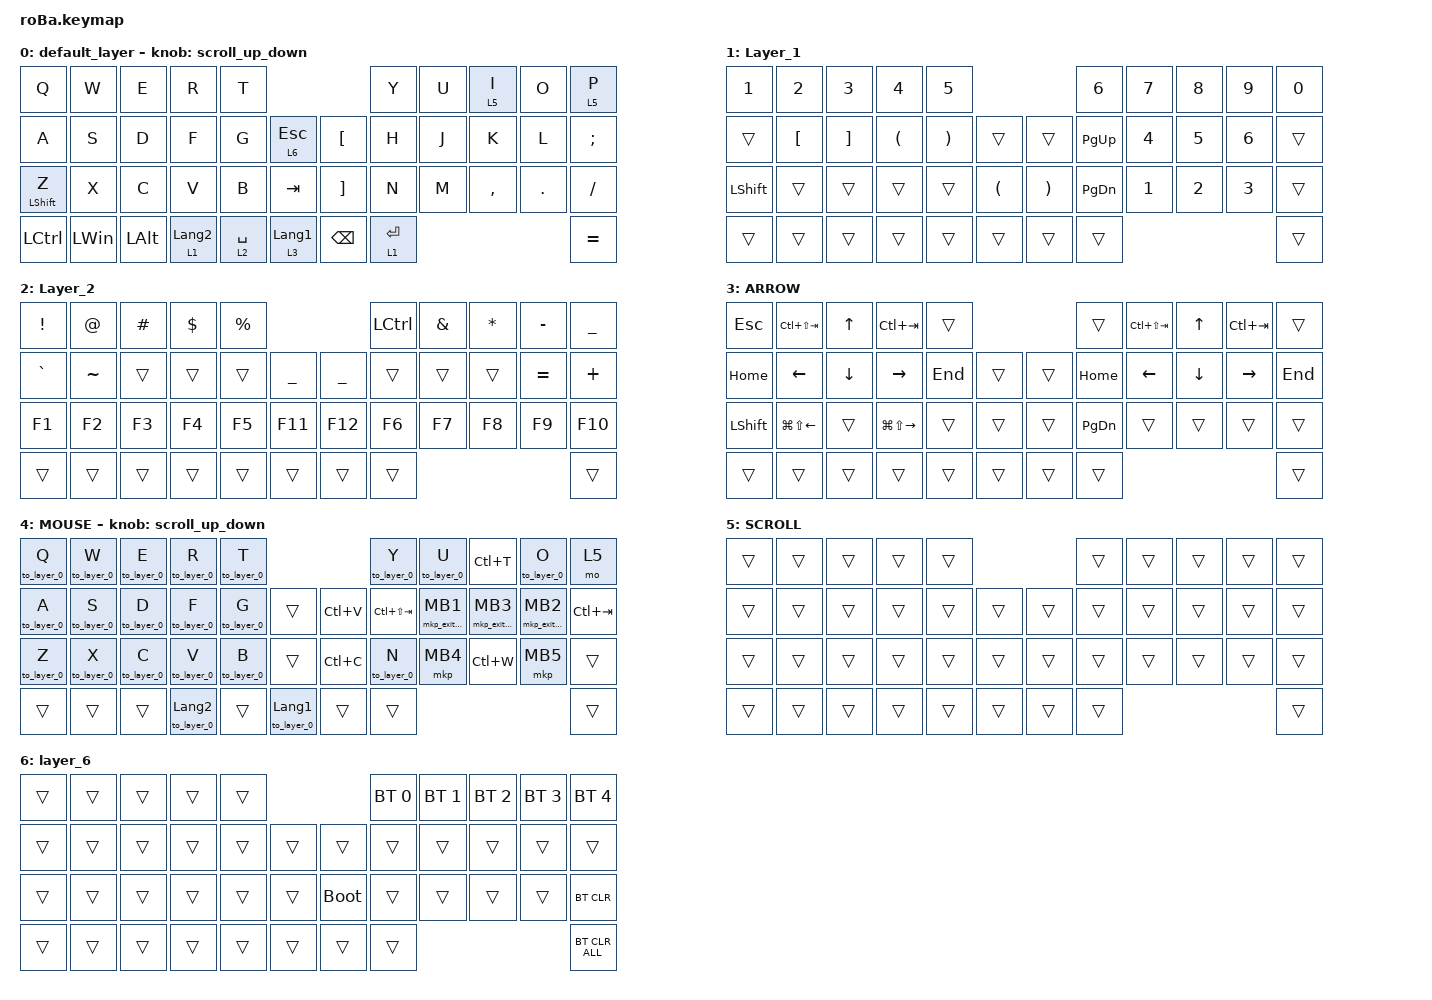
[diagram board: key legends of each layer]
#include <behaviors.dtsi>
#include <dt-bindings/zmk/bt.h>
#include <dt-bindings/zmk/keys.h>
#include <dt-bindings/zmk/pointing.h>
#include <dt-bindings/zmk/pointing.h>

#define MOUSE 4
#define SCROLL 5
#define NUM 6
#define ZMK_POINTING_DEFAULT_SCRL_VAL 100

&mt {
    flavor = "balanced";
    quick-tap-ms = <0>;
};

&sl { release-after-ms = <250>; };

/ {
    combos {
        compatible = "zmk,combos";

        tab {
            bindings = <&kp TAB>;
            key-positions = <11 10>;
        };

        double_quotation {
            bindings = <&kp DOUBLE_QUOTES>;
            key-positions = <20 19>;
        };

        eq {
            bindings = <&kp EQUAL>;
            key-positions = <8 9>;
        };

        minus {
            bindings = <&kp MINUS>;
            key-positions = <7 8>;
        };

        single_quote {
            bindings = <&none>;
            key-positions = <20 21>;
        };

        esc {
            bindings = <&kp ESCAPE>;
            key-positions = <0 1>;
        };
    };

    macros {
        to_layer_0: to_layer_0 {
            compatible = "zmk,behavior-macro-one-param";
            #binding-cells = <1>;
            bindings = <&to 0 &macro_param_1to1 &kp MACRO_PLACEHOLDER>;
            label = "TO_LAYER_0";
        };

        mkp_exit_AML: mkp_exit_AML {
            compatible = "zmk,behavior-macro-one-param";
            #binding-cells = <1>;
            bindings =
                <&macro_press>,
                <&macro_param_1to1 &mkp MACRO_PLACEHOLDER>,
                <&macro_pause_for_release>,
                <&macro_release>,
                <&macro_param_1to1 &mkp MACRO_PLACEHOLDER>,
                <&macro_tap>,
                <&sl MOUSE>;

            label = "MKP_EXIT_AML";
        };
    };

    behaviors {
        lt_to_layer_0: lt_to_layer_0 {
            compatible = "zmk,behavior-hold-tap";
            label = "LAYER_TAP_TO_0";
            bindings = <&mo>, <&to_layer_0>;

            #binding-cells = <2>;
            tapping-term-ms = <200>;
        };

        scroll_up_down: behavior_sensor_rotate_mouse_wheel_up_down {
            compatible = "zmk,behavior-sensor-rotate";
            #sensor-binding-cells = <0>;
            bindings = <&msc SCRL_DOWN>, <&msc SCRL_UP>;

            // 追加: スクロールのタップ時間を設定 (20ms)

            tap-ms = <20>;
        };
    };

    keymap {
        compatible = "zmk,keymap";

        default_layer {
            bindings = <
&kp Q             &kp W         &kp E         &kp R             &kp T                                                 &kp Y        &kp U  &lt 5 I    &kp O    &lt 5 P
&kp A             &kp S         &kp D         &kp F             &kp G        &lt 6 ESCAPE          &kp LEFT_BRACKET   &kp H        &kp J  &kp K      &kp L    &kp SEMICOLON
&mt LEFT_SHIFT Z  &kp X         &kp C         &kp V             &kp B        &kp TAB               &kp RIGHT_BRACKET  &kp N        &kp M  &kp COMMA  &kp DOT  &kp SLASH
&kp LCTRL         &kp LEFT_WIN  &kp LEFT_ALT  &lt 1 LANGUAGE_2  &lt 2 SPACE  &lt 3 LANGUAGE_1      &kp BACKSPACE      &lt 1 ENTER                             &kp EQUAL
            >;

            sensor-bindings = <&scroll_up_down>;
        };

        Layer_1 {
            bindings = <
&kp NUMBER_1    &kp NUMBER_2      &kp NUMBER_3       &kp NUMBER_4          &kp N5                                                                  &kp NUMBER_6   &kp N7        &kp N8        &kp N9        &kp N0
&trans          &kp LEFT_BRACKET  &kp RIGHT_BRACKET  &kp LEFT_PARENTHESIS  &kp RIGHT_PARENTHESIS  &trans                    &trans                 &kp PAGE_UP    &kp NUMBER_4  &kp NUMBER_5  &kp NUMBER_6  &trans
&kp LEFT_SHIFT  &trans            &trans             &trans                &trans                 &kp LEFT_PARENTHESIS      &kp RIGHT_PARENTHESIS  &kp PAGE_DOWN  &kp NUMBER_1  &kp NUMBER_2  &kp NUMBER_3  &trans
&trans          &trans            &trans             &trans                &trans                 &trans                    &trans                 &trans                                                   &trans
            >;
        };

        Layer_2 {
            bindings = <
&kp EXCLAMATION  &kp AT_SIGN  &kp HASH  &kp DOLLAR  &kp PERCENT                                      &kp LCTRL  &kp AMPERSAND  &kp ASTERISK  &kp MINUS  &kp UNDERSCORE
&kp GRAVE        &kp TILDE    &trans    &trans      &trans       &kp UNDERSCORE      &kp UNDERSCORE  &trans     &trans         &trans        &kp EQUAL  &kp PLUS
&kp F1           &kp F2       &kp F3    &kp F4      &kp F5       &kp F11             &kp F12         &kp F6     &kp F7         &kp F8        &kp F9     &kp F10
&trans           &trans       &trans    &trans      &trans       &trans              &trans          &trans                                             &trans
            >;
        };

        ARROW {
            bindings = <
&kp ESCAPE      &kp LC(LS(TAB))         &kp UP_ARROW    &kp LC(TAB)              &trans                       &trans         &kp LC(LS(TAB))  &kp UP_ARROW    &kp LC(TAB)      &trans
&kp HOME        &kp LEFT_ARROW          &kp DOWN_ARROW  &kp RIGHT_ARROW          &kp END  &trans      &trans  &kp HOME       &kp LEFT_ARROW   &kp DOWN_ARROW  &kp RIGHT_ARROW  &kp END
&kp LEFT_SHIFT  &kp LG(LS(LEFT_ARROW))  &trans          &kp LG(LS(RIGHT_ARROW))  &trans   &trans      &trans  &kp PAGE_DOWN  &trans           &trans          &trans           &trans
&trans          &trans                  &trans          &trans                   &trans   &trans      &trans  &trans                                                           &trans
            >;
        };

        MOUSE {
            bindings = <
&to_layer_0 Q  &to_layer_0 W  &to_layer_0 E  &to_layer_0 R           &to_layer_0 T                                         &to_layer_0 Y    &to_layer_0 U      &kp LC(T)          &to_layer_0 O      &mo 5
&to_layer_0 A  &to_layer_0 S  &to_layer_0 D  &to_layer_0 F           &to_layer_0 G  &trans                      &kp LC(V)  &kp LC(LS(TAB))  &mkp_exit_AML MB1  &mkp_exit_AML MB3  &mkp_exit_AML MB2  &kp LC(TAB)
&to_layer_0 Z  &to_layer_0 X  &to_layer_0 C  &to_layer_0 V           &to_layer_0 B  &trans                      &kp LC(C)  &to_layer_0 N    &mkp MB4           &kp LC(W)          &mkp MB5           &trans
&trans         &trans         &trans         &to_layer_0 LANGUAGE_2  &trans         &to_layer_0 LANGUAGE_1      &trans     &trans                                                                    &trans
            >;

            sensor-bindings = <&scroll_up_down>;
        };

        SCROLL {
            bindings = <
&trans  &trans  &trans  &trans  &trans                      &trans  &trans  &trans  &trans  &trans
&trans  &trans  &trans  &trans  &trans  &trans      &trans  &trans  &trans  &trans  &trans  &trans
&trans  &trans  &trans  &trans  &trans  &trans      &trans  &trans  &trans  &trans  &trans  &trans
&trans  &trans  &trans  &trans  &trans  &trans      &trans  &trans                          &trans
            >;
        };

        layer_6 {
            bindings = <
&trans  &trans  &trans  &trans  &trans                           &bt BT_SEL 0  &bt BT_SEL 1  &bt BT_SEL 2  &bt BT_SEL 3  &bt BT_SEL 4
&trans  &trans  &trans  &trans  &trans  &trans      &trans       &trans        &trans        &trans        &trans        &trans
&trans  &trans  &trans  &trans  &trans  &trans      &bootloader  &trans        &trans        &trans        &trans        &bt BT_CLR
&trans  &trans  &trans  &trans  &trans  &trans      &trans       &trans                                                  &bt BT_CLR_ALL
            >;
        };
    };
};
